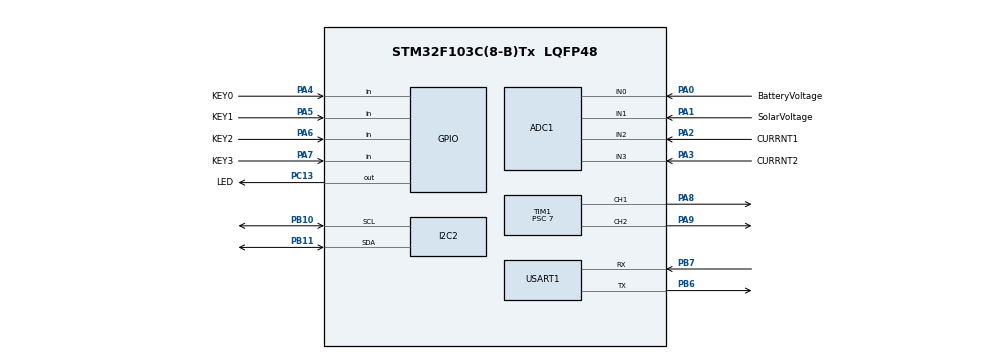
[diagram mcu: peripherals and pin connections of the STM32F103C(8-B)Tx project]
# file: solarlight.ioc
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ADC1.Channel-1\#ChannelRegularConversion=ADC_CHANNEL_0
ADC1.Channel-2\#ChannelRegularConversion=ADC_CHANNEL_1
ADC1.Channel-3\#ChannelRegularConversion=ADC_CHANNEL_2
ADC1.Channel-4\#ChannelRegularConversion=ADC_CHANNEL_3
ADC1.ContinuousConvMode=DISABLE
ADC1.DiscontinuousConvMode=ENABLE
ADC1.EnableRegularConversion=ENABLE
ADC1.NbrOfConversion=4
ADC1.NbrOfConversionFlag=1
ADC1.Rank-1\#ChannelRegularConversion=1
ADC1.Rank-2\#ChannelRegularConversion=2
ADC1.Rank-3\#ChannelRegularConversion=3
ADC1.Rank-4\#ChannelRegularConversion=4
ADC1.SamplingTime-1\#ChannelRegularConversion=ADC_SAMPLETIME_1CYCLE_5
ADC1.SamplingTime-2\#ChannelRegularConversion=ADC_SAMPLETIME_1CYCLE_5
ADC1.SamplingTime-3\#ChannelRegularConversion=ADC_SAMPLETIME_1CYCLE_5
ADC1.SamplingTime-4\#ChannelRegularConversion=ADC_SAMPLETIME_1CYCLE_5
ADC1.master=1
Mcu.Family=STM32F1
Mcu.Name=STM32F103C(8-B)Tx
Mcu.Package=LQFP48
NVIC.PriorityGroup=NVIC_PRIORITYGROUP_4
NVIC.TIM2_IRQn=true\:1\:0\:true\:false\:true\:true\:true\:true
PA0-WKUP.GPIO_Label=BatteryVoltage
PA0-WKUP.Signal=ADCx_IN0
PA1.GPIO_Label=SolarVoltage
PA1.Signal=ADCx_IN1
PA13.Mode=Serial_Wire
PA13.Signal=SYS_JTMS-SWDIO
PA14.Mode=Serial_Wire
PA14.Signal=SYS_JTCK-SWCLK
PA2.GPIO_Label=CURRNT1
PA2.Signal=ADCx_IN2
PA3.GPIO_Label=CURRNT2
PA3.Signal=ADCx_IN3
PA4.GPIO_Label=KEY0
PA4.GPIO_PuPd=GPIO_PULLUP
PA4.Signal=GPIO_Input
PA5.GPIO_Label=KEY1
PA5.GPIO_PuPd=GPIO_PULLUP
PA5.Signal=GPIO_Input
PA6.GPIO_Label=KEY2
PA6.GPIO_PuPd=GPIO_PULLUP
PA6.Signal=GPIO_Input
PA7.GPIO_Label=KEY3
PA7.GPIO_PuPd=GPIO_PULLUP
PA7.Signal=GPIO_Input
PA8.GPIO_ModeDefaultPP=GPIO_MODE_AF_PP
PA8.Signal=S_TIM1_CH1
PA9.Signal=S_TIM1_CH2
PB10.Mode=I2C
PB10.Signal=I2C2_SCL
PB11.Mode=I2C
PB11.Signal=I2C2_SDA
PB6.Mode=Asynchronous
PB6.Signal=USART1_TX
PB7.Mode=Asynchronous
PB7.Signal=USART1_RX
PC13-TAMPER-RTC.GPIO_Label=LED
PC13-TAMPER-RTC.PinState=GPIO_PIN_SET
PC13-TAMPER-RTC.Signal=GPIO_Output
ProjectManager.HeapSize=0x200
ProjectManager.StackSize=0x400
ProjectManager.TargetToolchain=MDK-ARM V5
RCC.APB1Freq_Value=8000000
RCC.APB2Freq_Value=8000000
SH.ADCx_IN0.0=ADC1_IN0,IN0
SH.ADCx_IN1.0=ADC1_IN1,IN1
SH.ADCx_IN2.0=ADC1_IN2,IN2
SH.ADCx_IN3.0=ADC1_IN3,IN3
SH.S_TIM1_CH1.0=TIM1_CH1,PWM Generation1 CH1
SH.S_TIM1_CH2.0=TIM1_CH2,PWM Generation2 CH2
TIM1.Channel-PWM\ Generation1\ CH1=TIM_CHANNEL_1
TIM1.Channel-PWM\ Generation2\ CH2=TIM_CHANNEL_2
TIM1.Period=99
TIM1.Prescaler=7
TIM2.Period=249
TIM2.Prescaler=7999
USART1.VirtualMode=VM_ASYNC
VP_TIM1_VS_ClockSourceINT.Mode=Internal
VP_TIM2_VS_ClockSourceINT.Mode=Internal
board=custom

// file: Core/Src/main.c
/* USER CODE BEGIN Header */
/**
 ******************************************************************************
 * @file           : main.c
 * @brief          : Main program body
 ******************************************************************************
 * @attention
 *
 * Copyright (c) 2023 STMicroelectronics.
 * All rights reserved.
 *
 * This software is licensed under terms that can be found in the LICENSE file
 * in the root directory of this software component.
 * If no LICENSE file comes with this software, it is provided AS-IS.
 *
 ******************************************************************************
 */
/* USER CODE END Header */
#include "main.h"
#include "adc.h"
#include "i2c.h"
#include "tim.h"
#include "usart.h"
#include "gpio.h"

/* USER CODE BEGIN Includes */
#include "OLED12864.h"
#include "codetab.h"
//
#include <math.h>
#include <stdio.h>
#include <stdlib.h>
#include <string.h>
/* USER CODE END Includes */

/* USER CODE BEGIN PTD */
#define SUM_TIMES 100
#define LITTLE_SUM_TIMES 100
struct cycle_queue {
    uint16_t data[SUM_TIMES];
    uint8_t next_store_index;
    uint32_t data_num;
    uint16_t data_average;
    uint8_t data_count;  // data_count<=SUM_TIMES, data_count=SUM_TIMES means the queue is full
};
struct cycle_queue_little_sum_times {
    uint16_t data[LITTLE_SUM_TIMES];
    uint8_t next_store_index;
    uint32_t data_num;
    uint16_t data_average;
    uint8_t data_count;  // data_count<=SUM_TIMES, data_count=SUM_TIMES means the queue is full
};
/* USER CODE END PTD */

/* USER CODE BEGIN PV */
uint8_t which_key_pressed = 0;  // which key is pressed.0: no key pressed
const char sun[8] = {
    0x91, 0x52, 0x3c, 0xbe,
    0x7d, 0x3c, 0x4a, 0x89};
const char moon[8] = {
    0x60, 0xc0, 0xc0, 0xe0,
    0xf0, 0x78, 0x3f, 0x1e};
uint16_t battary_voltage = 0;                              // real-time battary voltage
struct cycle_queue battary_voltage_queue;                  // battary voltage queue
uint8_t battary_percentage = 0;                            //[0,14] real-time battary percentage
uint8_t battary_charging_showing_percentage = 14;          // for dynamically show charging cartoon
const uint16_t battary_max_voltage = 2700;                // stop charge:8.2V ,8.19V max ADC value <2720<8.2V ADC max value
const uint16_t battary_stop_charge_voltage = 2537;         // stop charge:7.8V ,7.80V ADC min value <2537<7.81V ADC min value
const uint16_t battary_start_power_supply_voltage = 2067;  // start power supply:6.4V ,6.39V ADC max value:2105 <  <6.40V ADC max value:2110
const uint16_t battary_min_voltage = 1990;                 // stop power supply:6V,  6.00 min ADC value:1955 <  <6.01 min ADC value: 1955
// const uint16_t battary_min_voltage_when_LED_OFF = 1955;                // stop power supply:6V,  6.00 min ADC value:1955 <  <6.01 min ADC value: 1955
//  0:7.8, 1:82 battery last voltage is 7.8V or 8.2V
//  if 7.8V, when battary_voltage (7.8,8.2)V,should charge
//  if 8.2V, when battary_voltage (7.8,8.2)V,should NOT charge
uint8_t battary_last_78_or_82 = 0;
// 0:60, 1:64 battery last voltage is 6.0V or 6.4V
// if 6.0V, when battary_voltage (6.0,6.4)V,should NOT power supply
// if 6.4V, when battary_voltage (6.0,6.4)V,should power supply
uint8_t battary_last_60_or_64 = 0;

uint16_t solar_voltage = 0;                    // real-time solar voltage
struct cycle_queue solar_voltage_queue;        // solar voltage queue
const uint16_t solar_boundary_voltage = 1000;  // if the voltage is higher than this value, it's daytime, otherwise it's night

uint16_t LED_taget_current = 1525;  // LED_current get by ADC when 300mA
uint16_t LED_current = 0;

uint16_t battary_charge_current = 0;  // real-time battary charge current
struct cycle_queue_little_sum_times battary_charge_current_queue;
uint16_t battary_charge_target_current = 1500;
const uint16_t battary_charge_100mA_current = 1350;  // 100mA //604
uint16_t battary_charge_current_boundary = 510;     // if the current is higher than this value, the battary is charging

uint8_t battary_charge_PWM = 0;                         // real-time battary charge PWM duty
uint8_t battary_charge_ON_OFF = 0;                      // real-time battary charge ON/OFF; 0:OFF, 1:ON
uint8_t const_voltage_limited_current_charge_mode = 0;  // 0:off, 1:on

// NOTO:LED_PWM bigger, LED darker
uint8_t LED_PWM = 100;   // real-time LED PWM duty
uint8_t LED_ON_OFF = 0;  // real-time LED ON/OFF; 0:OFF, 1:ON
/* USER CODE END PV */

void SystemClock_Config(void);
/* USER CODE BEGIN PFP */
void ADC_get_average_value(void);
void cycle_queue_add_data(struct cycle_queue *queue, uint16_t data);
void cycle_queue_little_sum_times_add_data(struct cycle_queue_little_sum_times *queue, uint16_t data);
/* USER CODE END PFP */

int main(void)
{

  /* MCU Configuration--------------------------------------------------------*/

  /* Reset of all peripherals, Initializes the Flash interface and the Systick. */
  HAL_Init();

  /* Configure the system clock */
  SystemClock_Config();

  /* Initialize all configured peripherals */
  MX_GPIO_Init();
  MX_ADC1_Init();
  MX_I2C2_Init();
  MX_TIM1_Init();
  MX_USART1_UART_Init();
  MX_TIM2_Init();
  /* USER CODE BEGIN 2 */
    OLED_Init();
    OLED_draw_battary_icon(127 - 16, 0, 0);
    OLED_DisplayTurn(0);
    OLED_ColorTurn(0);

    HAL_TIM_Base_Start_IT(&htim2);
  /* USER CODE END 2 */

  /* Infinite loop */
  /* USER CODE BEGIN WHILE */
    while (1) {
        ADC_get_average_value();

        if (solar_voltage > solar_boundary_voltage) {  // daytime,LED off
            LED_ON_OFF = 0;
        } else if (battary_voltage < battary_min_voltage) {  // nighttime,but battary lack power ,LED off
            LED_ON_OFF = 0;
            battary_last_60_or_64 = 0;
        } else if (battary_voltage > battary_start_power_supply_voltage) {
            LED_ON_OFF = 1;
            battary_last_60_or_64 = 1;
        } else {
            LED_ON_OFF = battary_last_60_or_64;
        }
        if (LED_ON_OFF == 1) {  // LED on
            if (LED_current - LED_taget_current > 500) {
                LED_PWM += 5;
                if (LED_PWM > 100) {
                    LED_PWM = 100;
                }
            } else if (LED_current > LED_taget_current) {
                LED_PWM += 1;
                if (LED_PWM > 100) {
                    LED_PWM = 100;
                }
            } else if (LED_taget_current - LED_current > 500) {
                if (LED_PWM > 5) {
                    LED_PWM -= 5;
                } else {
                    LED_PWM = 0;
                }
            } else {
                if (LED_PWM > 1) {
                    LED_PWM -= 1;
                } else {
                    LED_PWM = 0;
                }
            }
            HAL_TIM_PWM_Start(&htim1, TIM_CHANNEL_2);
            __HAL_TIM_SET_COMPARE(&htim1, TIM_CHANNEL_2, LED_PWM);
            printf("LED_PWM on :%d\r\n", LED_PWM);
        } else {  // LED off
            HAL_TIM_PWM_Start(&htim1, TIM_CHANNEL_2);
            __HAL_TIM_SET_COMPARE(&htim1, TIM_CHANNEL_2, 100);
            printf("LED_PWM on:%d\r\n", 100);
        }

        if (battary_voltage >= battary_max_voltage) {  // battary is full, go into const_voltage_limited_current_charge_mode
            const_voltage_limited_current_charge_mode = 1;
            battary_last_78_or_82 = 1;
        } else if (battary_voltage < battary_stop_charge_voltage) {
            battary_charge_ON_OFF = 1;  // on ,should charge
            battary_last_78_or_82 = 0;
        } else {  // battary_voltage: (7.8,8.2]
            if (!const_voltage_limited_current_charge_mode) {
                battary_charge_ON_OFF = !battary_last_78_or_82;
            }
        }
        printf("charge ON OFF%d,charge_mode:%d\r\n", battary_charge_ON_OFF, const_voltage_limited_current_charge_mode);
        if (battary_charge_ON_OFF == 1 && const_voltage_limited_current_charge_mode == 0) {
            battary_charge_PWM = 100;
            HAL_TIM_PWM_Start(&htim1, TIM_CHANNEL_1);
            __HAL_TIM_SET_COMPARE(&htim1, TIM_CHANNEL_1, battary_charge_PWM);
            printf("battary_charge_PWM on :%d\r\n", battary_charge_PWM);
        } else if (battary_charge_ON_OFF == 1 && const_voltage_limited_current_charge_mode == 1) {
            if (battary_charge_current < battary_charge_100mA_current) {
                const_voltage_limited_current_charge_mode = 0;
                battary_charge_ON_OFF = 0;
            } else if (battary_voltage > battary_max_voltage) {
                if (battary_charge_PWM > 1) {
                    battary_charge_PWM--;
                } else {
                    battary_charge_PWM = 0;
                }
            } else {
                battary_charge_PWM++;
                if (battary_charge_PWM > 100) {
                    battary_charge_PWM = 100;
                }
            }
            if (battary_charge_ON_OFF) {
                HAL_TIM_PWM_Start(&htim1, TIM_CHANNEL_1);
                __HAL_TIM_SET_COMPARE(&htim1, TIM_CHANNEL_1, battary_charge_PWM);
                printf("battary_charge_PWM on :%d\r\n", battary_charge_PWM);
            } else {
                HAL_TIM_PWM_Stop(&htim1, TIM_CHANNEL_1);
                printf("line:249:battary_charge_PWM off\r\n");
            }
        } else {
            HAL_TIM_PWM_Stop(&htim1, TIM_CHANNEL_1);
            printf("line:253:battary_charge_PWM off\r\n");
        }

        printf("\r\n");

        which_key_pressed = KEY_Scan(0);
        switch (which_key_pressed) {
            case KEY0_PRES: {
                printf("KEY0_PRES\r\n");
                if (LED_taget_current > 200) {
                    LED_taget_current -= 200;
                }
                break;
            }
            case KEY1_PRES: {
                printf("KEY1_PRES\r\n");
                break;
            }
            case KEY2_PRES: {
                printf("KEY2_PRES\r\n");
                break;
            }
            case KEY3_PRES: {
                printf("KEY3_PRES\r\n");
                if (LED_taget_current < 3900) {
                    LED_taget_current += 200;
                }
                break;
            }
            default:
                break;
        }
        // HAL_Delay(1);
    /* USER CODE END WHILE */

    }
}

void SystemClock_Config(void)
{
  RCC_OscInitTypeDef RCC_OscInitStruct = {0};
  RCC_ClkInitTypeDef RCC_ClkInitStruct = {0};
  RCC_PeriphCLKInitTypeDef PeriphClkInit = {0};

  /** Initializes the RCC Oscillators according to the specified parameters
  * in the RCC_OscInitTypeDef structure.
  */
  RCC_OscInitStruct.OscillatorType = RCC_OSCILLATORTYPE_HSI;
  RCC_OscInitStruct.HSIState = RCC_HSI_ON;
  RCC_OscInitStruct.HSICalibrationValue = RCC_HSICALIBRATION_DEFAULT;
  RCC_OscInitStruct.PLL.PLLState = RCC_PLL_NONE;
  if (HAL_RCC_OscConfig(&RCC_OscInitStruct) != HAL_OK)
  {
    Error_Handler();
  }

  /** Initializes the CPU, AHB and APB buses clocks
  */
  RCC_ClkInitStruct.ClockType = RCC_CLOCKTYPE_HCLK|RCC_CLOCKTYPE_SYSCLK
                              |RCC_CLOCKTYPE_PCLK1|RCC_CLOCKTYPE_PCLK2;
  RCC_ClkInitStruct.SYSCLKSource = RCC_SYSCLKSOURCE_HSI;
  RCC_ClkInitStruct.AHBCLKDivider = RCC_SYSCLK_DIV1;
  RCC_ClkInitStruct.APB1CLKDivider = RCC_HCLK_DIV1;
  RCC_ClkInitStruct.APB2CLKDivider = RCC_HCLK_DIV1;

  if (HAL_RCC_ClockConfig(&RCC_ClkInitStruct, FLASH_LATENCY_0) != HAL_OK)
  {
    Error_Handler();
  }
  PeriphClkInit.PeriphClockSelection = RCC_PERIPHCLK_ADC;
  PeriphClkInit.AdcClockSelection = RCC_ADCPCLK2_DIV2;
  if (HAL_RCCEx_PeriphCLKConfig(&PeriphClkInit) != HAL_OK)
  {
    Error_Handler();
  }
}

/* USER CODE BEGIN 4 */
int fputc(int ch, FILE *f) {
    HAL_UART_Transmit(&huart1, (uint8_t *)&ch, 1, 10);
    return ch;
}
void HAL_TIM_PeriodElapsedCallback(TIM_HandleTypeDef *htim) {
    if (htim->Instance == TIM2) {
        if (battary_charge_current > battary_charge_current_boundary) {
            OLED_P6x8Str(32,1,"charging");
            OLED_draw_battary_icon(127 - 16, 0, battary_charging_showing_percentage);
            battary_charging_showing_percentage++;
            if (battary_charging_showing_percentage > 14) {
                battary_charging_showing_percentage = battary_percentage;
            }
        }
    }
}

void ADC_get_average_value(void) {
    //OLED_Clear();
    HAL_ADC_Start(&hadc1);
    HAL_ADC_PollForConversion(&hadc1, 50);
    if (const_voltage_limited_current_charge_mode) {
        battary_voltage = HAL_ADC_GetValue(&hadc1);
    } else {
        cycle_queue_add_data(&battary_voltage_queue, HAL_ADC_GetValue(&hadc1));
        battary_voltage = battary_voltage_queue.data_average;
    }

    HAL_ADC_Start(&hadc1);
    HAL_ADC_PollForConversion(&hadc1, 50);
    cycle_queue_add_data(&solar_voltage_queue, HAL_ADC_GetValue(&hadc1));
    solar_voltage = solar_voltage_queue.data_average;

    HAL_ADC_Start(&hadc1);
    HAL_ADC_PollForConversion(&hadc1, 50);
    if (const_voltage_limited_current_charge_mode) {
        cycle_queue_little_sum_times_add_data(&battary_charge_current_queue, HAL_ADC_GetValue(&hadc1));
        battary_charge_current = battary_charge_current_queue.data_average;
    } else {
        battary_charge_current = HAL_ADC_GetValue(&hadc1);
    }

    HAL_ADC_Start(&hadc1);
    HAL_ADC_PollForConversion(&hadc1, 50);
    LED_current = HAL_ADC_GetValue(&hadc1);

    if (battary_voltage > battary_max_voltage) {
        battary_percentage = 14;
    } else if (battary_voltage < battary_min_voltage) {
        battary_percentage = 0;
    } else {
        battary_percentage = round((battary_voltage - battary_min_voltage) * 14.0 / (battary_max_voltage - battary_min_voltage));
    }
    if (battary_charge_current <= battary_charge_current_boundary) {
        OLED_P6x8Str(32,1,"          ");
        OLED_draw_battary_icon(127 - 16, 0, battary_percentage);
    }
    printf("battary_voltage:%d\r\n", battary_voltage);

    if (solar_voltage > solar_boundary_voltage) {
        Draw_BMP(127 - 16 - 8 - 2, 0, 8, 8, sun);
    } else {
        Draw_BMP(127 - 16 - 8 - 2, 0, 8, 8, moon);
    }
    printf("solar_voltage:%d\r\n", solar_voltage);
    printf("battary_charge_current:%d\r\n", battary_charge_current);
    printf("LED_current:%d\r\n", LED_current);
    my_P6x8Str(0,2,"LED:",LED_current,"     ");
}

void cycle_queue_add_data(struct cycle_queue *queue, uint16_t data) {
    // Subtract the oldest value from the data_num
    queue->data_num -= queue->data[queue->next_store_index];

    // Add data to the queue
    queue->data[queue->next_store_index] = data;

    // Add the new value to the data_num
    queue->data_num += data;

    // Update the next store index
    queue->next_store_index = (queue->next_store_index + 1) % SUM_TIMES;

    // Update the data count
    if (queue->data_count < SUM_TIMES) {
        // Increment data count if the queue is not yet full
        queue->data_count++;
    }
    // Calculate the new data average
    queue->data_average = queue->data_num / queue->data_count;
}

void cycle_queue_little_sum_times_add_data(struct cycle_queue_little_sum_times *queue, uint16_t data) {
    // Subtract the oldest value from the data_num
    queue->data_num -= queue->data[queue->next_store_index];

    // Add data to the queue
    queue->data[queue->next_store_index] = data;

    // Add the new value to the data_num
    queue->data_num += data;

    // Update the next store index
    queue->next_store_index = (queue->next_store_index + 1) % LITTLE_SUM_TIMES;

    // Update the data count
    if (queue->data_count < LITTLE_SUM_TIMES) {
        // Increment data count if the queue is not yet full
        queue->data_count++;
    }
    // Calculate the new data average
    queue->data_average = queue->data_num / queue->data_count;
}
/* USER CODE END 4 */

void Error_Handler(void)
{
    __disable_irq();
    while (1) {
    }
}
